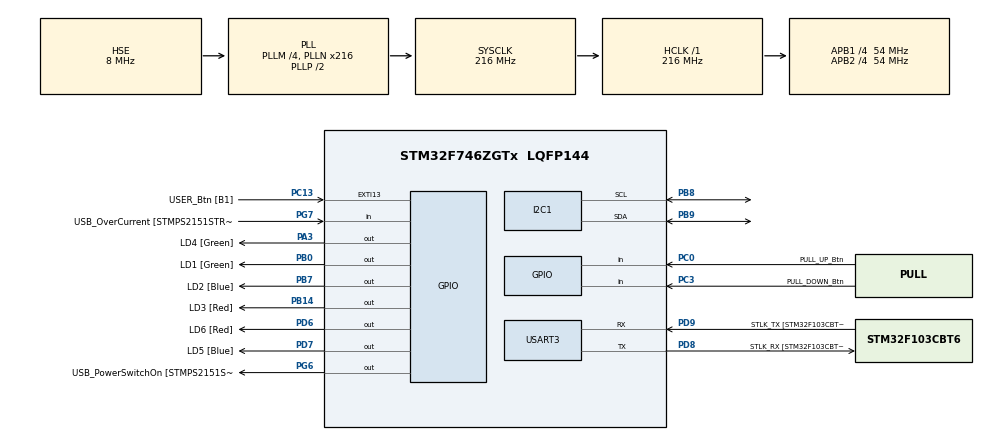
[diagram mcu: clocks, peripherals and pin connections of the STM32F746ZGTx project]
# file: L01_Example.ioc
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I2C1.Timing=0x20404768
Mcu.Family=STM32F7
Mcu.Name=STM32F746ZGTx
Mcu.Package=LQFP144
NVIC.EXTI15_10_IRQn=true\:0\:0\:false\:false\:true\:true\:true\:true
NVIC.PriorityGroup=NVIC_PRIORITYGROUP_4
PA1.GPIO_Label=RMII_REF_CLK [LAN8742A-CZ-TR_REFCLK0]
PA1.Signal=ETH_REF_CLK
PA10.GPIO_Label=USB_ID
PA10.Signal=USB_OTG_FS_ID
PA11.GPIO_Label=USB_DM
PA11.Signal=USB_OTG_FS_DM
PA12.GPIO_Label=USB_DP
PA12.Signal=USB_OTG_FS_DP
PA13.GPIO_Label=TMS
PA13.Mode=Serial_Wire
PA13.Signal=SYS_JTMS-SWDIO
PA14.GPIO_Label=TCK
PA14.Mode=Serial_Wire
PA14.Signal=SYS_JTCK-SWCLK
PA2.GPIO_Label=RMII_MDIO [LAN8742A-CZ-TR_MDIO]
PA2.Signal=ETH_MDIO
PA3.GPIO_Label=LD4 [Green]
PA3.Signal=GPIO_Output
PA7.GPIO_Label=RMII_CRS_DV [LAN8742A-CZ-TR_CRS_DV]
PA7.Signal=ETH_CRS_DV
PA8.GPIO_Label=USB_SOF [TP1]
PA8.Signal=USB_OTG_FS_SOF
PA9.GPIO_Label=USB_VBUS
PA9.Signal=USB_OTG_FS_VBUS
PB0.GPIO_Label=LD1 [Green]
PB0.Signal=GPIO_Output
PB13.GPIO_Label=RMII_TXD1 [LAN8742A-CZ-TR_TXD1]
PB13.Signal=ETH_TXD1
PB14.GPIO_Label=LD3 [Red]
PB14.Signal=GPIO_Output
PB3.GPIO_Label=SW0
PB3.Signal=SYS_JTDO-SWO
PB7.GPIO_Label=LD2 [Blue]
PB7.Signal=GPIO_Output
PB8.Mode=I2C
PB8.Signal=I2C1_SCL
PB9.Mode=I2C
PB9.Signal=I2C1_SDA
PC0.GPIO_Label=PULL_UP_Btn
PC0.GPIO_PuPd=GPIO_PULLUP
PC0.Signal=GPIO_Input
PC1.GPIO_Label=RMII_MDC [LAN8742A-CZ-TR_MDC]
PC1.Signal=ETH_MDC
PC13.GPIO_Label=USER_Btn [B1]
PC13.Signal=GPXTI13
PC14/OSC32_IN.Mode=LSE-External-Oscillator
PC14/OSC32_IN.Signal=RCC_OSC32_IN
PC15/OSC32_OUT.Mode=LSE-External-Oscillator
PC15/OSC32_OUT.Signal=RCC_OSC32_OUT
PC3.GPIO_Label=PULL_DOWN_Btn
PC3.GPIO_PuPd=GPIO_PULLDOWN
PC3.Signal=GPIO_Input
PC4.GPIO_Label=RMII_RXD0 [LAN8742A-CZ-TR_RXD0]
PC4.Signal=ETH_RXD0
PC5.GPIO_Label=RMII_RXD1 [LAN8742A-CZ-TR_RXD1]
PC5.Signal=ETH_RXD1
PD6.GPIO_Label=LD6 [Red]
PD6.Signal=GPIO_Output
PD7.GPIO_Label=LD5 [Blue]
PD7.Signal=GPIO_Output
PD8.GPIO_Label=STLK_RX [STM32F103CBT6_PA3]
PD8.GPIO_PuPd=GPIO_PULLUP
PD8.Mode=Asynchronous
PD8.Signal=USART3_TX
PD9.GPIO_Label=STLK_TX [STM32F103CBT6_PA2]
PD9.GPIO_PuPd=GPIO_PULLUP
PD9.Mode=Asynchronous
PD9.Signal=USART3_RX
PG11.GPIO_Label=RMII_TX_EN [LAN8742A-CZ-TR_TXEN]
PG11.Signal=ETH_TX_EN
PG13.GPIO_Label=RMII_TXD0 [LAN8742A-CZ-TR_TXD0]
PG13.Signal=ETH_TXD0
PG6.GPIO_Label=USB_PowerSwitchOn [STMPS2151STR_EN]
PG6.Signal=GPIO_Output
PG7.GPIO_Label=USB_OverCurrent [STMPS2151STR_FAULT]
PG7.Signal=GPIO_Input
PH0/OSC_IN.GPIO_Label=MCO [STM32F103CBT6_PA8]
PH0/OSC_IN.Mode=HSE-External-Clock-Source
PH0/OSC_IN.Signal=RCC_OSC_IN
PH1/OSC_OUT.Mode=HSE-External-Clock-Source
PH1/OSC_OUT.Signal=RCC_OSC_OUT
ProjectManager.HeapSize=0x200
ProjectManager.StackSize=0x400
ProjectManager.TargetToolchain=STM32CubeIDE
RCC.48MHZClocksFreq_Value=24000000
RCC.AHBFreq_Value=216000000
RCC.APB1CLKDivider=RCC_HCLK_DIV4
RCC.APB1Freq_Value=54000000
RCC.APB1TimFreq_Value=108000000
RCC.APB2CLKDivider=RCC_HCLK_DIV4
RCC.APB2Freq_Value=54000000
RCC.APB2TimFreq_Value=108000000
RCC.CortexFreq_Value=216000000
RCC.HCLKFreq_Value=216000000
RCC.HSE_VALUE=8000000
RCC.HSI_VALUE=16000000
RCC.PLLM=4
RCC.PLLMUL=RCC_PLL_MUL9
RCC.PLLN=216
RCC.PLLQ=3
RCC.PLLSourceVirtual=RCC_PLLSOURCE_HSE
RCC.PRESCALERUSB=RCC_USBCLKSOURCE_PLL_DIV1_5
RCC.SYSCLKFreq_VALUE=216000000
RCC.SYSCLKSource=RCC_SYSCLKSOURCE_PLLCLK
RCC.SYSCLKSourceVirtual=RCC_SYSCLKSOURCE_PLLCLK
RCC.USBFreq_Value=144000000
RCC.VCOOutputFreq_Value=432000000
USART3.VirtualMode-Asynchronous=VM_ASYNC
board=NUCLEO-F746ZG

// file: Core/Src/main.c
/* USER CODE BEGIN Header */
/**
  ******************************************************************************
  * @file           : main.c
  * @brief          : Main program body
  ******************************************************************************
  * @attention
  *
  * Copyright (c) 2025 STMicroelectronics.
  * All rights reserved.
  *
  * This software is licensed under terms that can be found in the LICENSE file
  * in the root directory of this software component.
  * If no LICENSE file comes with this software, it is provided AS-IS.
  *
  ******************************************************************************
  */
/* USER CODE END Header */
#include "main.h"
#include "i2c.h"
#include "usart.h"
#include "gpio.h"

/* USER CODE BEGIN Includes */
#include "stm32f7xx_ll_exti.h"
/* USER CODE END Includes */

/* USER CODE BEGIN PD */
#define ENC_CLK_EXTI_LINE LL_EXTI_LINE_6
/* USER CODE END PD */

/* USER CODE BEGIN PV */
_Bool LD4_State;   //< External LED state (0 = off, 1 = on)
_Bool ENC_DT_State;//< Encoder direction line state
_Bool ENC_CLK_State;//< Encoder clock line state
_Bool ENC_CLK_EdgeDetected;

int ENC_Counter = 0;
/* USER CODE END PV */

void SystemClock_Config(void);

/* USER CODE BEGIN 0 */
/**
  * @brief  EXTI line detection callbacks.
  * @param  GPIO_Pin Specifies the pins connected EXTI line
  * @retval None
  */
void HAL_GPIO_EXTI_Callback(uint16_t GPIO_Pin)
{
  if(GPIO_Pin == ENC_CLK_Pin)
  {
    // Temporarily disable EXTI line
    LL_EXTI_DisableIT_0_31(ENC_CLK_EXTI_LINE);

    // Busy wait to filter short pulses
    for(long int i = 0; i < 10000L; i++)
      __asm__("nop"); // WARNING: delay in interrupt is NOT recommended practice

    ENC_CLK_EdgeDetected = 0;

    // Check if clock line is still High
    ENC_CLK_State = HAL_GPIO_ReadPin(ENC_CLK_GPIO_Port, ENC_CLK_Pin);
    if(ENC_CLK_State)
    {
      // Read direction line
      ENC_DT_State = HAL_GPIO_ReadPin(ENC_DT_GPIO_Port, ENC_DT_Pin);

      // Update counter - increment if direction line is High, decrement otherwise
      if(ENC_DT_State)
        ENC_Counter = (ENC_Counter + 100 + 1000) % 1000;
      else
        ENC_Counter = (ENC_Counter - 100 + 1000) % 1000;
    }

    // Enable EXTI line
    LL_EXTI_EnableIT_0_31(ENC_CLK_EXTI_LINE);
  }
}
/* USER CODE END 0 */

int main(void)
{

  /* MCU Configuration--------------------------------------------------------*/

  /* Reset of all peripherals, Initializes the Flash interface and the Systick. */
  HAL_Init();

  /* Configure the system clock */
  SystemClock_Config();

  /* Initialize all configured peripherals */
  MX_GPIO_Init();
  MX_I2C1_Init();
  MX_USART3_UART_Init();

  /* Infinite loop */
  /* USER CODE BEGIN WHILE */
  while (1)
  {
   // Toggle LED
   HAL_GPIO_TogglePin(LD4_GPIO_Port, LD4_Pin);
   LD4_State = HAL_GPIO_ReadPin(LD4_GPIO_Port, LD4_Pin);

   // Wait for given period (100 to 1000 ms)
   HAL_Delay(100 + ENC_Counter - 1);

    /* USER CODE END WHILE */

  }
}

void SystemClock_Config(void)
{
  RCC_OscInitTypeDef RCC_OscInitStruct = {0};
  RCC_ClkInitTypeDef RCC_ClkInitStruct = {0};

  /** Configure LSE Drive Capability
  */
  HAL_PWR_EnableBkUpAccess();

  /** Configure the main internal regulator output voltage
  */
  __HAL_RCC_PWR_CLK_ENABLE();
  __HAL_PWR_VOLTAGESCALING_CONFIG(PWR_REGULATOR_VOLTAGE_SCALE1);

  /** Initializes the RCC Oscillators according to the specified parameters
  * in the RCC_OscInitTypeDef structure.
  */
  RCC_OscInitStruct.OscillatorType = RCC_OSCILLATORTYPE_HSE;
  RCC_OscInitStruct.HSEState = RCC_HSE_BYPASS;
  RCC_OscInitStruct.PLL.PLLState = RCC_PLL_ON;
  RCC_OscInitStruct.PLL.PLLSource = RCC_PLLSOURCE_HSE;
  RCC_OscInitStruct.PLL.PLLM = 4;
  RCC_OscInitStruct.PLL.PLLN = 216;
  RCC_OscInitStruct.PLL.PLLP = RCC_PLLP_DIV2;
  RCC_OscInitStruct.PLL.PLLQ = 3;
  if (HAL_RCC_OscConfig(&RCC_OscInitStruct) != HAL_OK)
  {
    Error_Handler();
  }

  /** Activate the Over-Drive mode
  */
  if (HAL_PWREx_EnableOverDrive() != HAL_OK)
  {
    Error_Handler();
  }

  /** Initializes the CPU, AHB and APB buses clocks
  */
  RCC_ClkInitStruct.ClockType = RCC_CLOCKTYPE_HCLK|RCC_CLOCKTYPE_SYSCLK
                              |RCC_CLOCKTYPE_PCLK1|RCC_CLOCKTYPE_PCLK2;
  RCC_ClkInitStruct.SYSCLKSource = RCC_SYSCLKSOURCE_PLLCLK;
  RCC_ClkInitStruct.AHBCLKDivider = RCC_SYSCLK_DIV1;
  RCC_ClkInitStruct.APB1CLKDivider = RCC_HCLK_DIV4;
  RCC_ClkInitStruct.APB2CLKDivider = RCC_HCLK_DIV4;

  if (HAL_RCC_ClockConfig(&RCC_ClkInitStruct, FLASH_LATENCY_7) != HAL_OK)
  {
    Error_Handler();
  }
}

void Error_Handler(void)
{
  __disable_irq();
  while (1)
  {
  }
}
